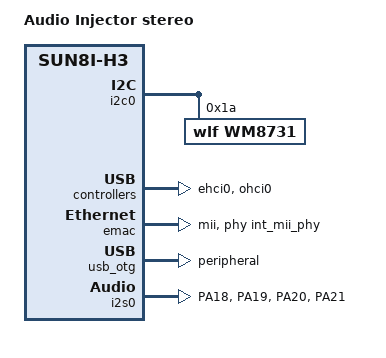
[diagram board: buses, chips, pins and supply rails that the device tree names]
/*
 * Copyright (c) 2018 FriendlyElec Computer Tech. Co., Ltd.
 * (http://www.friendlyarm.com)
 *
 * This program is free software; you can redistribute it and/or
 * modify it under the terms of the GNU General Public License
 * as published by the Free Software Foundation; either version 2
 * of the License, or (at your option) any later version.
 *
 * This program is distributed in the hope that it will be useful,
 * but WITHOUT ANY WARRANTY; without even the implied warranty of
 * MERCHANTABILITY or FITNESS FOR A PARTICULAR PURPOSE.  See the
 * GNU General Public License for more details.
 *
 * You should have received a copy of the GNU General Public License
 * along with this program.  If not, see <http://www.gnu.org/licenses/>.
 */

/dts-v1/;
#include "sun8i-h3-nanopi.dtsi"

/ {
	model = "Audio Injector stereo";
  compatible = "friendlyarm,nanopi-neo", "allwinner,sun8i-h3";

  /* i2c@0 {
          compatible = "i2c-gpio";
          sda-gpios = <&pio 0 17 (GPIO_ACTIVE_HIGH | GPIO_OPEN_DRAIN)>; // PA17
          scl-gpios = <&r_pio 0 11 (GPIO_ACTIVE_HIGH | GPIO_OPEN_DRAIN)>; // PL11
          i2c-gpio,delay-us = <50>;

          #address-cells = <1>;
          #size-cells = <0>;
          wm8731: wm8731@1a {
                  #sound-dai-cells = <0>;
                  compatible = "wlf,wm8731";
                  reg = <0x1a>;
                  status = "okay";
          };
  }; */

  sound {
    compatible = "ai,audioinjector-nanopi-soundcard";
  	/* pinctrl-names = "default";
  	pinctrl-0 = <&i2s0_pins>; */
    i2s-controller = <&i2s0>;
    nanopi,audio-codec = <&wm8731>;
    status = "okay";
  };

};

&i2c0 {
		status = "okay";

		wm8731: wm8731@1a {
						#sound-dai-cells = <0>;
						compatible = "wlf,wm8731";
						reg = <0x1a>;
						status = "okay";
		};
};

&ehci0 {
	status = "okay";
};

&emac {
	phy-handle = <&int_mii_phy>;
	phy-mode = "mii";
	allwinner,leds-active-low;
	status = "okay";
};

&ohci0 {
	status = "okay";
};

&usb_otg {
	status = "okay";
	dr_mode = "peripheral";
};

&usbphy {
	usb0_id_det-gpios = <&pio 6 12 GPIO_ACTIVE_HIGH>; // PG12
};

&pio {
	i2s0_pins: i2s0-pins {
		pins = "PA18", "PA19", "PA20", "PA21";
		function = "i2s0";
	};
	i2s1_pins: i2s1-pins {
		pins = "PG10", "PG11", "PG12", "PG13";
		function = "i2s1";
	};
};

&i2s0 {
	pinctrl-names = "default";
	pinctrl-0 = <&i2s0_pins>;

  compatible = "allwinner,sun8i-h3-i2s";
	status = "okay";
};
